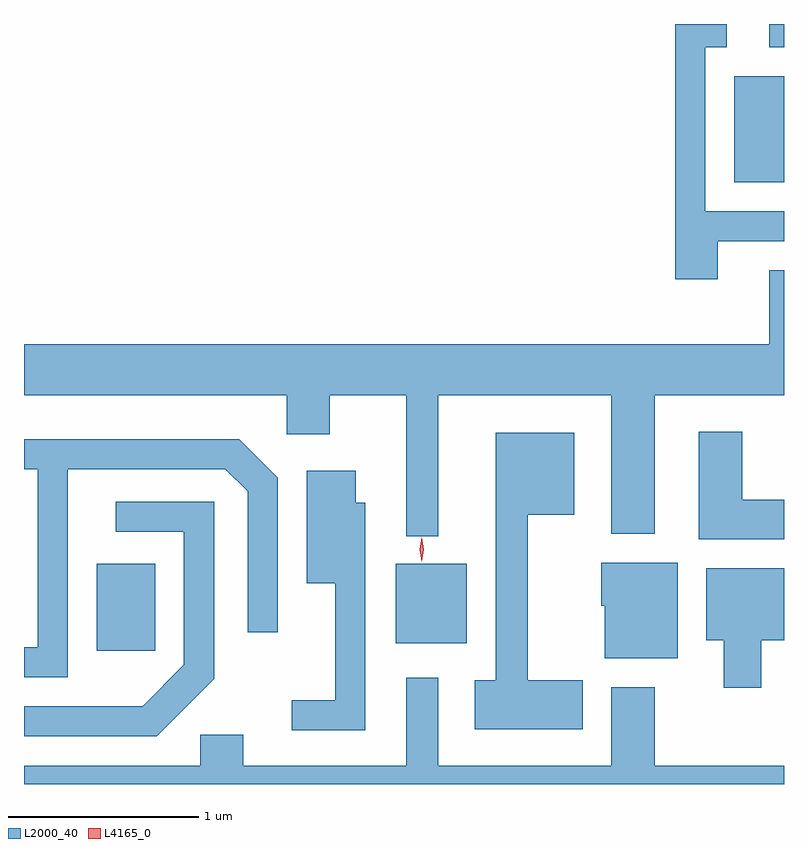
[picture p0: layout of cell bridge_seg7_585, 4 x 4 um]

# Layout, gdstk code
import gdstk
lib = gdstk.Library(unit=1e-6, precision=1e-09)
def R(c, l, rs):  # rectangles x0, y0, x1, y1
    for r in rs: c.add(gdstk.rectangle(r[:2], r[2:], *l))
def P(c, l, *ps):  # polygons
    for p in ps: c.add(gdstk.Polygon(p, *l))
L2000_40 = (2000, 40)
L4165_0 = (4165, 0)

bridge_seg7_585 = lib.new_cell('bridge_seg7_585')
R(bridge_seg7_585, L2000_40, [(618.501,1752.931,618.809,1753.389), (620.076,1752.971,620.449,1753.389), (621.856,1755.396,622.119,1755.954), (622.041,1756.106,622.119,1756.229)])
P(bridge_seg7_585, L2000_40, [(621.769,1755.086),(622.119,1755.086),(622.119,1755.244),(621.704,1755.244),(621.704,1756.106),(621.818,1756.106),(621.818,1756.229),(621.546,1756.229),(621.546,1754.886),(621.769,1754.886)],
  [(620.299,1754.276),(621.211,1754.276),(621.211,1753.546),(621.439,1753.546),(621.439,1754.276),(622.119,1754.276),(622.119,1754.934),(622.041,1754.934),(622.041,1754.544),(618.119,1754.544),(618.119,1754.276),(619.501,1754.276),(619.501,1754.071),(619.729,1754.071),(619.729,1754.276),(620.131,1754.276),(620.131,1753.533),(620.299,1753.533)],
  [(622.119,1753.724),(621.899,1753.724),(621.899,1754.084),(621.671,1754.084),(621.671,1753.516),(622.119,1753.516)],
  [(621.059,1752.774),(620.769,1752.774),(620.769,1753.646),(621.014,1753.646),(621.014,1754.079),(620.601,1754.079),(620.601,1752.774),(620.491,1752.774),(620.491,1752.516),(621.059,1752.516)],
  [(618.349,1753.886),(619.179,1753.886),(619.296,1753.769),(619.296,1753.028),(619.454,1753.028),(619.454,1753.842),(619.252,1754.044),(618.119,1754.044),(618.119,1753.886),(618.191,1753.886),(618.191,1752.949),(618.119,1752.949),(618.119,1752.791),(618.349,1752.791)],
  [(619.914,1753.709),(619.864,1753.709),(619.864,1753.879),(619.606,1753.879),(619.606,1753.286),(619.756,1753.286),(619.756,1752.669),(619.528,1752.669),(619.528,1752.511),(619.914,1752.511)],
  [(619.119,1752.784),(619.119,1753.714),(618.603,1753.714),(618.603,1753.556),(618.961,1753.556),(618.961,1752.857),(618.744,1752.639),(618.119,1752.639),(618.119,1752.481),(618.817,1752.481)],
  [(621.559,1753.394),(621.156,1753.394),(621.156,1753.166),(621.176,1753.166),(621.176,1752.891),(621.559,1752.891)],
  [(621.999,1752.986),(622.119,1752.986),(622.119,1753.364),(621.711,1753.364),(621.711,1752.986),(621.801,1752.986),(621.801,1752.736),(621.999,1752.736)],
  [(622.119,1752.324),(621.439,1752.324),(621.439,1752.739),(621.211,1752.739),(621.211,1752.324),(620.299,1752.324),(620.299,1752.788),(620.131,1752.788),(620.131,1752.324),(619.274,1752.324),(619.274,1752.489),(619.046,1752.489),(619.046,1752.324),(618.119,1752.324),(618.119,1752.229),(622.119,1752.229)])
P(bridge_seg7_585, L4165_0, [(620.212,1753.398),(620.212,1753.398),(620.202,1753.463),(620.212,1753.527),(620.212,1753.528),(620.213,1753.527),(620.222,1753.463),(620.213,1753.398)])

lib.write_gds('bridge_seg7_585.gds')
